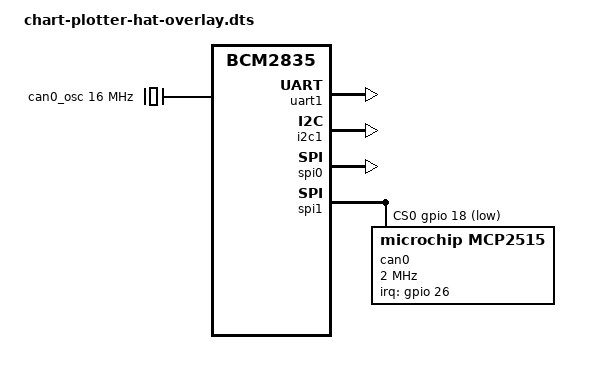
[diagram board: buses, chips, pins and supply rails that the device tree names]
/dts-v1/;
/plugin/;


/ {
	compatible = "brcm,bcm2708", "brcm,bcm2709", "brcm,bcm2711", "brcm,bcm2835";

        /* enable uart1 on default pins, 14,15 */
        fragment@0 {
            target = <&uart1>;
            __overlay__ {
                status = "okay";
            };
        };

        /* enable i2c1 on default pins, 2,3 */
        fragment@1 {
            target = <&i2c1>;
            __overlay__ {
                status = "okay";
            };
        };

        /* the pins of spi0 */
        fragment@2 {
            target = <&gpio>;
            __overlay__ {
                spi0_pins: spi0_pins {
                    brcm,pins = <9 10 11>;
                    brcm,function = <0x4>; /* alternate function 0 */
                };
                spi0_cs_pins: spi0_cs_pins {
                    brcm,pins = <7>;
                    brcm,function = <0x4>; /* alternate function 0 */
                };
            };
        };

        /* spi 0 using only pin 7 as csN, we need pin 8 as general gpio */
        fragment@3 {
            target = <&spi0>;
            __overlay__ {
                /* needed to avoid dtc warning */
                #address-cells = <1>;
                #size-cells = <0>;
                status = "okay";
                pinctrl-names = "default";
                pinctrl-0 = <&spi0_pins &spi0_cs_pins>;
                cs-gpios = <&gpio 7 1>;
            };
        };

        /* disable spidev1 */
        fragment@4 {
            target = <&spidev1>;
            __overlay__ {
                status = "disabled";
            };
        };

        /* the pins of spi1 */
        fragment@5 {
            target = <&gpio>;
            __overlay__ {
                spi1_pins: spi1_pins {
                    brcm,pins = <19 20 21>;
                    brcm,function = <0x3>; /* alternate function 4 */
                };
                spi1_cs_pins: spi1_cs_pins {
                    brcm,pins = <17 18>;
                    brcm,function = <0x3>; /* alternate function 4 */
                };
            };
        };

        /* spi1 config */
        fragment@6 {
            target = <&spi1>;
            __overlay__ {
                /* needed to avoid dtc warning */
                #address-cells = <1>;
                #size-cells = <0>;
                status = "okay";
                pinctrl-names = "default";
                pinctrl-0 = <&spi1_pins &spi1_cs_pins>;
                cs-gpios = <&gpio 18 1>;
            };
        };

        /* the interrupt pin of the can-controller */
        fragment@7 {
            target = <&gpio>;
            __overlay__ {
                can0_int_pins: can0_int_pins {
                    brcm,pins = <26>; /* gpio26, hardware pin 37 */
                    brcm,function = <0>; /* input */
                };
            };
        };

        /* the clock/oscillator of the can-controller */
        fragment@8 {
            target-path = "/clocks";
                __overlay__ {
                    /* external oscillator of mcp2515 on spi1.0 */
                    can0_osc: can0_osc {
                        compatible = "fixed-clock";
                        #clock-cells = <0>;
                        clock-frequency  = <16000000>;
                    };
                };
        };

        /* the spi config of the can-controller */
	fragment@9 {
		target = <&spi1>;
		__overlay__ {
		    /* needed to avoid dtc warning */
		    #address-cells = <1>;
		    #size-cells = <0>;
		    can0: mcp251x@0 {
		        compatible = "microchip,mcp2515";
			reg = <0>;      /* CE0 */
                        pinctrl-names = "default";
                        pinctrl-0 = <&can0_int_pins>;
			spi-max-frequency = <2000000>;
                        interrupt-parent = <&gpio>;
                        interrupts = <26 0x8>; /* IRQ_TYPE_LEVEL_LOW */
                        clocks = <&can0_osc>;
		    };
		};
	};

        __overrides__ {
            oscillator = <&can0_osc>,"clock-frequency:0";
            speed = <&can0>,"spi-max-frequency:0";
        };
};
